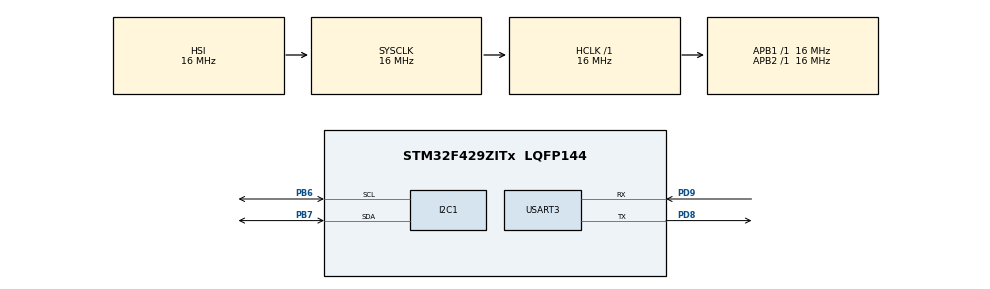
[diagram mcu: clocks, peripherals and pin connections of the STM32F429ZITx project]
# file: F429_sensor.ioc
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Mcu.Family=STM32F4
Mcu.Name=STM32F429ZITx
Mcu.Package=LQFP144
NVIC.PriorityGroup=NVIC_PRIORITYGROUP_4
PB6.Mode=I2C
PB6.Signal=I2C1_SCL
PB7.Mode=I2C
PB7.Signal=I2C1_SDA
PD8.Mode=Asynchronous
PD8.Signal=USART3_TX
PD9.Mode=Asynchronous
PD9.Signal=USART3_RX
ProjectManager.HeapSize=0x200
ProjectManager.StackSize=0x400
ProjectManager.TargetToolchain=STM32CubeIDE
RCC.AHBFreq_Value=16000000
RCC.APB1Freq_Value=16000000
RCC.APB2Freq_Value=16000000
RCC.CortexFreq_Value=16000000
RCC.HSE_VALUE=25000000
RCC.HSI_VALUE=16000000
RCC.LSE_VALUE=32768
RCC.SYSCLKFreq_VALUE=16000000
RCC.VCOOutputFreq_Value=192000000
USART3.VirtualMode=VM_ASYNC
board=custom

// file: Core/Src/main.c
/* USER CODE BEGIN Header */
/* F429_sensor */
/**
  ******************************************************************************
  * @file           : main.c
  * @brief          : Main program body
  ******************************************************************************
  * @attention
  *
  * Copyright (c) 2026 STMicroelectronics.
  * All rights reserved.
  *
  * This software is licensed under terms that can be found in the LICENSE file
  * in the root directory of this software component.
  * If no LICENSE file comes with this software, it is provided AS-IS.
  *
  ******************************************************************************
  */
/* USER CODE END Header */
#include "main.h"

/* USER CODE BEGIN Includes */
#include "gy87.h"
#include "ascii_bin.h"
#include <stdio.h>
#include <string.h>
#include "stm32f4xx_hal.h"
#include "stm32f4xx_hal_uart.h"

/* USER CODE END Includes */

I2C_HandleTypeDef hi2c1;

UART_HandleTypeDef huart3;

/* USER CODE BEGIN PV */
GY87_Addr_t gy87_addr = {.mpu_addr_7bit = 0x68, .mag_addr_7bit = 0x1E};
GY87_Data_t gy87_data;
uint16_t msgID = 0;
char rawStr[256];
char binStr[200 * 8 + 1];

/* USER CODE END PV */

void SystemClock_Config(void);
static void MX_GPIO_Init(void);
static void MX_I2C1_Init(void);
static void MX_USART3_UART_Init(void);

int main(void)
{

  /* MCU Configuration--------------------------------------------------------*/

  /* Reset of all peripherals, Initializes the Flash interface and the Systick. */
  HAL_Init();

  /* Configure the system clock */
  SystemClock_Config();

  /* Initialize all configured peripherals */
  MX_GPIO_Init();
  MX_I2C1_Init();
  MX_USART3_UART_Init();

  /* Infinite loop */
  while (1)
  {

	    /* USER CODE BEGIN 3 */
	    printf("---\r\n");
	    printf("msgID = %03u\r\n" , msgID);

	    printf("Raw:\r\n");

	    if (GY87_Read(&hi2c1 , gy87_addr , &gy87_data) == HAL_OK)
	    {
	      snprintf(rawStr , sizeof(rawStr),
	      "ax=%d; ay=%d; az=%d; gx=%d; gy=%d; gz=%d; ax=%d; ay=%d; az=%d; mx=%d; my=%d; mz=%d; temp=%d;",
	      gy87_data.mpu.ax, gy87_data.mpu.ay, gy87_data.mpu.az,
	      gy87_data.mpu.gx, gy87_data.mpu.gy, gy87_data.mpu.gz,
	      gy87_data.mag.mx, gy87_data.mag.my, gy87_data.mag.mz,
	      gy87_data.mpu.temp_raw
	    );

	    printf("%s\r\n" , rawStr);

	    ascii_to_binary_string_no_space(rawStr, binStr, sizeof(binStr));

	    printf("Binary:\r\n");
	    printf("%s\r\n" , binStr);
	    } // end if
	    else
	    {
	      printf("GY87 read error \r\n");
	    } // end else

	    printf("---\r\n");

	    msgID++;

	    if (msgID >= 1000) msgID = 0;
	    HAL_Delay(200);

  }
  /* USER CODE END 3 */
}

void SystemClock_Config(void)
{
  RCC_OscInitTypeDef RCC_OscInitStruct = {0};
  RCC_ClkInitTypeDef RCC_ClkInitStruct = {0};

  /** Configure the main internal regulator output voltage
  */
  __HAL_RCC_PWR_CLK_ENABLE();
  __HAL_PWR_VOLTAGESCALING_CONFIG(PWR_REGULATOR_VOLTAGE_SCALE3);

  /** Initializes the RCC Oscillators according to the specified parameters
  * in the RCC_OscInitTypeDef structure.
  */
  RCC_OscInitStruct.OscillatorType = RCC_OSCILLATORTYPE_HSI;
  RCC_OscInitStruct.HSIState = RCC_HSI_ON;
  RCC_OscInitStruct.HSICalibrationValue = RCC_HSICALIBRATION_DEFAULT;
  RCC_OscInitStruct.PLL.PLLState = RCC_PLL_NONE;
  if (HAL_RCC_OscConfig(&RCC_OscInitStruct) != HAL_OK)
  {
    Error_Handler();
  }

  /** Initializes the CPU, AHB and APB buses clocks
  */
  RCC_ClkInitStruct.ClockType = RCC_CLOCKTYPE_HCLK|RCC_CLOCKTYPE_SYSCLK
                              |RCC_CLOCKTYPE_PCLK1|RCC_CLOCKTYPE_PCLK2;
  RCC_ClkInitStruct.SYSCLKSource = RCC_SYSCLKSOURCE_HSI;
  RCC_ClkInitStruct.AHBCLKDivider = RCC_SYSCLK_DIV1;
  RCC_ClkInitStruct.APB1CLKDivider = RCC_HCLK_DIV1;
  RCC_ClkInitStruct.APB2CLKDivider = RCC_HCLK_DIV1;

  if (HAL_RCC_ClockConfig(&RCC_ClkInitStruct, FLASH_LATENCY_0) != HAL_OK)
  {
    Error_Handler();
  }
}

static void MX_I2C1_Init(void)
{

  hi2c1.Instance = I2C1;
  hi2c1.Init.ClockSpeed = 100000;
  hi2c1.Init.DutyCycle = I2C_DUTYCYCLE_2;
  hi2c1.Init.OwnAddress1 = 0;
  hi2c1.Init.AddressingMode = I2C_ADDRESSINGMODE_7BIT;
  hi2c1.Init.DualAddressMode = I2C_DUALADDRESS_DISABLE;
  hi2c1.Init.OwnAddress2 = 0;
  hi2c1.Init.GeneralCallMode = I2C_GENERALCALL_DISABLE;
  hi2c1.Init.NoStretchMode = I2C_NOSTRETCH_DISABLE;
  if (HAL_I2C_Init(&hi2c1) != HAL_OK)
  {
    Error_Handler();
  }

  /** Configure Analogue filter
  */
  if (HAL_I2CEx_ConfigAnalogFilter(&hi2c1, I2C_ANALOGFILTER_ENABLE) != HAL_OK)
  {
    Error_Handler();
  }

  /** Configure Digital filter
  */
  if (HAL_I2CEx_ConfigDigitalFilter(&hi2c1, 0) != HAL_OK)
  {
    Error_Handler();
  }

}

static void MX_USART3_UART_Init(void)
{

  huart3.Instance = USART3;
  huart3.Init.BaudRate = 115200;
  huart3.Init.WordLength = UART_WORDLENGTH_8B;
  huart3.Init.StopBits = UART_STOPBITS_1;
  huart3.Init.Parity = UART_PARITY_NONE;
  huart3.Init.Mode = UART_MODE_TX_RX;
  huart3.Init.HwFlowCtl = UART_HWCONTROL_NONE;
  huart3.Init.OverSampling = UART_OVERSAMPLING_16;
  if (HAL_UART_Init(&huart3) != HAL_OK)
  {
    Error_Handler();
  }

}

static void MX_GPIO_Init(void)
{

  /* GPIO Ports Clock Enable */
  __HAL_RCC_GPIOD_CLK_ENABLE();
  __HAL_RCC_GPIOB_CLK_ENABLE();

}

void Error_Handler(void)
{
  __disable_irq();
  while (1)
  {
  }
}
